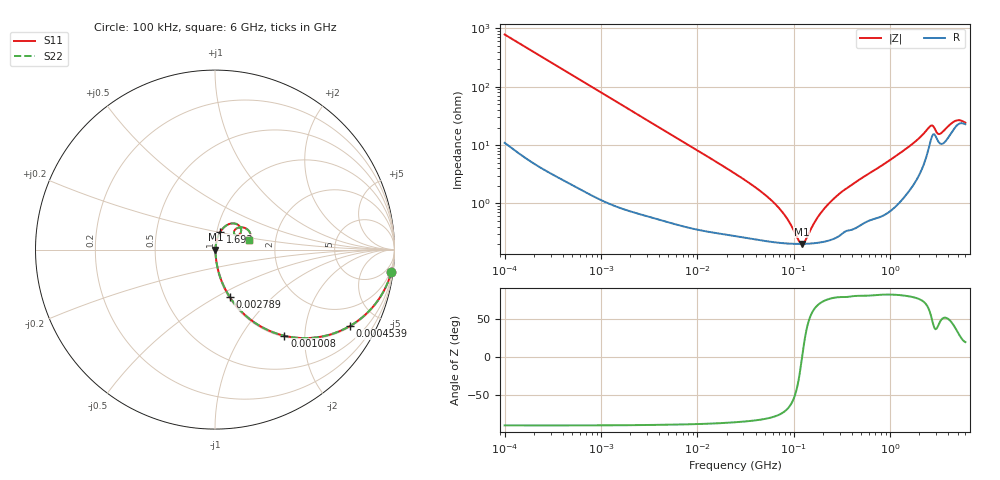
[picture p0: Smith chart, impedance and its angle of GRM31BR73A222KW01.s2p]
!Murata Part Number: GRM31BR73A222KW01
!These Parameters are Measured in Series Mode Connection
!Data Generated on Mar 30, 2021
!  o--ll--o
!Port1  Port2
!  o------o
!Operation Temp=25[degC], DC Bias Voltage=0[V]
!Freq. Start=100[kHz] Stop=6[GHz] 401[Steps]
# Hz S RI R 50
!Freq.(Hz) S11(Real) S11(Imag) S21(Real) S21(Imag) S12(Real) S12(Imag) S22(Real) S22(Imag)
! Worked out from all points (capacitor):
!   401 points, 100 kHz to 6 GHz, reference 50 ohm
!   read as one part in series: C = 2.02 nF near 105.7 kHz
!   lowest |Z| = 203 mohm at 120.8 MHz (marker M1)
!   series resonance near 121.4 MHz, so ESL is about 850 pH
!   S11 on the Smith chart (normalised r, x): 100 kHz: 1, -16; 453.9 kHz: 1.05, -3.50; 1.008 MHz: 1.02, -1.58; 2.789 MHz: 1.01, -0.58; 1.693 GHz: 1.04, +0.21; 6 GHz: 1.45, +0.17
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100000  0.9824 -0.1248  0.0176 0.1248  0.0176 0.1248  0.9824 -0.1248
234589  0.9162 -0.271  0.0838 0.271  0.0838 0.271  0.9162 -0.271
453937  0.7507 -0.4262  0.2493 0.4262  0.2493 0.4262  0.7507 -0.4262
631452  0.612 -0.4806  0.388 0.4806  0.388 0.4806  0.612 -0.4806
1007887  0.3869 -0.4799  0.6131 0.4799  0.6131 0.4799  0.3869 -0.4799
1653593  0.1938 -0.387  0.8062 0.387  0.8062 0.387  0.1938 -0.387
2788629  0.0814 -0.2629  0.9186 0.2629  0.9186 0.2629  0.0814 -0.2629
3987316  0.0439 -0.1922  0.9561 0.1922  0.9561 0.1922  0.0439 -0.1922
2.517799e7  0.00372 -0.0312  0.9963 0.0312  0.9963 0.0312  0.00372 -0.0312
6.593397e7  0.00222 -0.00901  0.9978 0.00901  0.9978 0.00901  0.00222 -0.00901
8.44535e7  0.00208 -0.00517  0.9979 0.00517  0.9979 0.00517  0.00208 -0.00517
1.207557e8  0.00202 -7.93e-05  0.998 7.93e-05  0.998 7.93e-05  0.00202 -7.93e-05
1.311426e8  0.00203 0.00108  0.998 -0.00108  0.998 -0.00108  0.00203 0.00108
1.546735e8  0.00207 0.00343  0.9979 -0.00343  0.9979 -0.00343  0.00207 0.00343
2.036431e8  0.00226 0.0076  0.9977 -0.0076  0.9977 -0.0076  0.00226 0.0076
2.911787e8  0.00292 0.014  0.9971 -0.014  0.9971 -0.014  0.00292 0.014
9.76689e8  0.00999 0.0532  0.99 -0.0532  0.99 -0.0532  0.00999 0.0532
1.693027e9  0.029 0.0979  0.971 -0.0979  0.971 -0.0979  0.029 0.0979
2.55767e9  0.1165 0.144  0.8835 -0.144  0.8835 -0.144  0.1165 0.144
3.187187e9  0.1083 0.0855  0.8917 -0.0855  0.8917 -0.0855  0.1083 0.0855
4.557193e9  0.1748 0.1163  0.8252 -0.1163  0.8252 -0.1163  0.1748 0.1163
6e9  0.189 0.0549  0.811 -0.0549  0.811 -0.0549  0.189 0.0549
